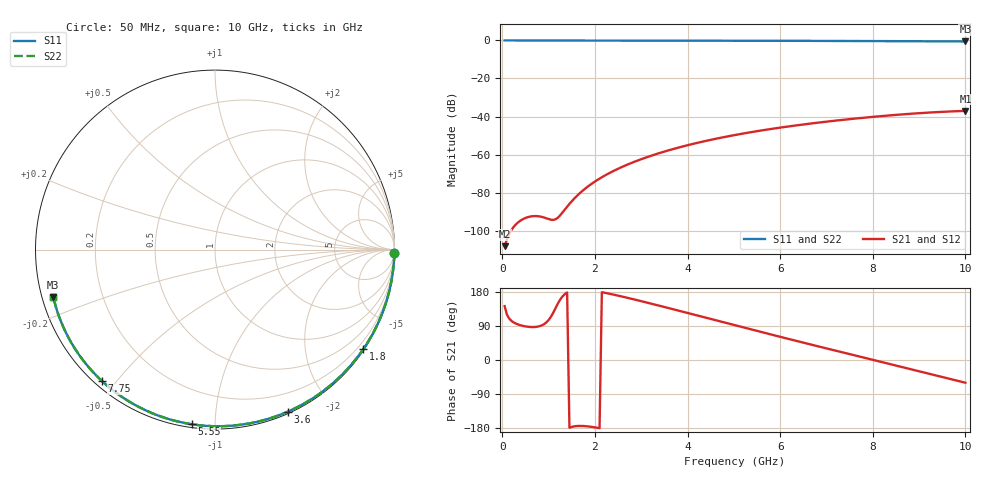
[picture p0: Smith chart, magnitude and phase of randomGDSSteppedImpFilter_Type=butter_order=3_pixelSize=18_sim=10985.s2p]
! freq	dB(S11)	phase(S11)	dB(S12)	phase(S12)
!  dB(S21)	phase(S21)	dB(S22)	phase(S22)
!S-par simulation data
#  GHz  S  DB  R 50
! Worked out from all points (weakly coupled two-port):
!   200 points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, 50 MHz to 10 GHz, reference 50 ohm
!   highest |S21| = -37.04 dB at 10 GHz (marker M1); lowest = -108.2 dB at 50 MHz (marker M2)
!   lowest |S11| = -0.5 dB at 10 GHz (marker M3), VSWR 31.75, Z = 1.61 - j7.17 ohm
!   |S11| at or under -10 dB: nowhere
!   |S22| runs from -0.5 to 0.0 dB; largest |S21 - S12| = 0
!   S11 on the Smith chart (normalised r, x): 50 MHz: open; 1.8 GHz: 0.03, -3.28; 3.6 GHz: 0.02, -1.55; 5.55 GHz: 0.02, -0.88; 7.75 GHz: 0.02, -0.46; 10 GHz: 0.03, -0.14
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0.05  -0.00 -1.0  -108.20 142.2  -108.20 142.2  -0.00 -1.0
0.45  -0.01 -8.6  -93.93 89.9  -93.93 89.9  -0.01 -8.6
0.85  -0.02 -16.2  -92.78 91.2  -92.78 91.2  -0.02 -16.2
1.65  -0.04 -31.1  -80.86 -174.0  -80.86 -174.0  -0.04 -31.1
1.7  -0.04 -32.0  -79.76 -174.0  -79.76 -174.0  -0.04 -32.0
1.75  -0.04 -33.0  -78.72 -174.2  -78.72 -174.2  -0.04 -33.0
1.8  -0.04 -33.9  -77.73 -174.7  -77.73 -174.7  -0.04 -33.9
1.95  -0.05 -36.6  -75.04 -176.8  -75.04 -176.8  -0.05 -36.6
2.1  -0.05 -39.4  -72.67 -179.9  -72.67 -179.9  -0.05 -39.4
2.45  -0.06 -45.7  -68.06 171.3  -68.06 171.3  -0.06 -45.7
2.9  -0.07 -53.7  -63.36 158.3  -63.36 158.3  -0.07 -53.7
3.4  -0.08 -62.4  -59.18 143.0  -59.18 143.0  -0.08 -62.4
3.6  -0.09 -65.8  -57.72 136.8  -57.72 136.8  -0.09 -65.8
4.3  -0.11 -77.5  -53.36 114.7  -53.36 114.7  -0.11 -77.5
5.05  -0.14 -89.7  -49.61 91.0  -49.61 91.0  -0.14 -89.7
5.55  -0.16 -97.6  -47.51 75.2  -47.51 75.2  -0.16 -97.6
6.1  -0.19 -106.1  -45.50 58.1  -45.50 58.1  -0.19 -106.0
6.7  -0.22 -115.1  -43.58 39.7  -43.58 39.7  -0.22 -115.1
7.75  -0.30 -130.6  -40.77 8.0  -40.77 8.0  -0.30 -130.6
8.35  -0.36 -139.4  -39.44 -10.0  -39.44 -10.0  -0.36 -139.4
9.2  -0.45 -151.8  -37.95 -35.8  -37.95 -35.8  -0.45 -151.8
10  -0.55 -163.7  -37.04 -59.9  -37.04 -59.9  -0.55 -163.6
